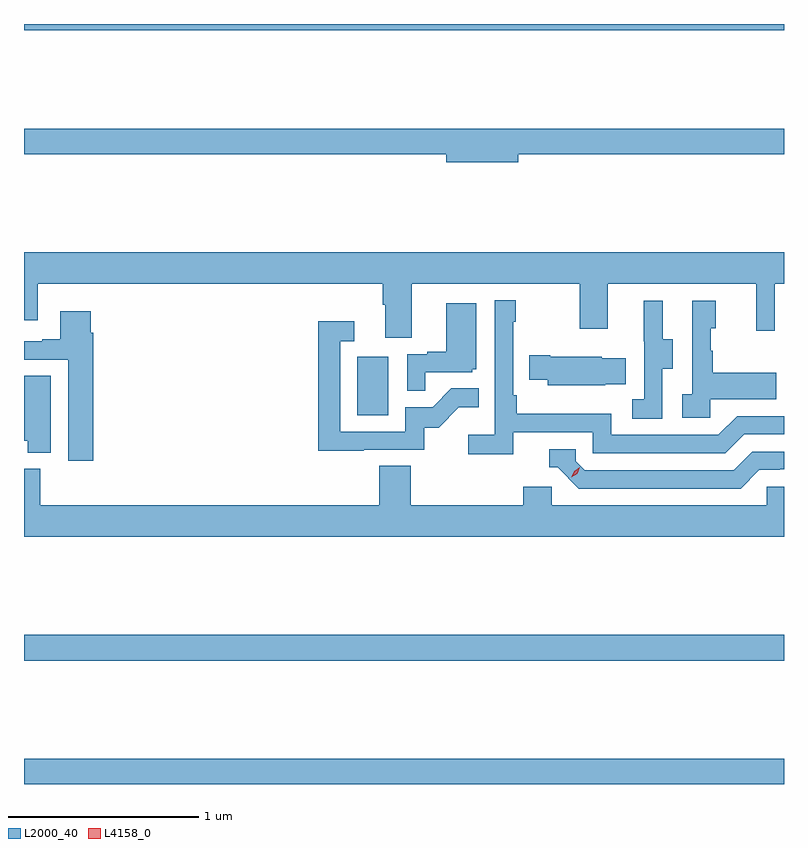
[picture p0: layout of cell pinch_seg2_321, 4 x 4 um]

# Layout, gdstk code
import gdstk
lib = gdstk.Library(unit=1e-6, precision=1e-09)
def R(c, l, rs):  # rectangles x0, y0, x1, y1
    for r in rs: c.add(gdstk.rectangle(r[:2], r[2:], *l))
def P(c, l, *ps):  # polygons
    for p in ps: c.add(gdstk.Polygon(p, *l))
L2000_40 = (2000, 40)
L4158_0 = (4158, 0)

pinch_seg2_321 = lib.new_cell('pinch_seg2_321')
R(pinch_seg2_321, L2000_40, [(898.83,625.022,902.83,625.156), (898.83,625.672,902.83,625.808), (900.584,626.964,900.748,627.271), (898.83,628.988,902.83,629.022)])
P(pinch_seg2_321, L2000_40, [(901.432,628.336),(902.83,628.336),(902.83,628.472),(898.83,628.472),(898.83,628.336),(901.052,628.336),(901.052,628.294),(901.432,628.294)],
  [(900.871,627.656),(901.756,627.656),(901.756,627.417),(901.903,627.417),(901.903,627.656),(902.684,627.656),(902.684,627.408),(902.781,627.408),(902.781,627.656),(902.83,627.656),(902.83,627.82),(898.83,627.82),(898.83,627.462),(898.903,627.462),(898.903,627.656),(900.719,627.656),(900.719,627.544),(900.731,627.544),(900.731,627.37),(900.871,627.37)],
  [(901.406,626.874),(901.824,626.874),(901.824,626.763),(902.521,626.763),(902.62,626.862),(902.83,626.862),(902.83,626.958),(902.583,626.958),(902.484,626.859),(901.92,626.859),(901.92,626.971),(901.424,626.971),(901.424,627.067),(901.404,627.067),(901.404,627.455),(901.417,627.455),(901.417,627.568),(901.308,627.568),(901.308,626.86),(901.167,626.86),(901.167,626.758),(901.406,626.758)],
  [(902.442,627.047),(902.789,627.047),(902.789,627.187),(902.455,627.187),(902.455,627.302),(902.445,627.302),(902.445,627.42),(902.47,627.42),(902.47,627.565),(902.346,627.565),(902.346,627.074),(902.295,627.074),(902.295,626.949),(902.442,626.949)],
  [(902.19,627.208),(902.245,627.208),(902.245,627.363),(902.191,627.363),(902.191,627.565),(902.093,627.565),(902.093,627.351),(902.094,627.351),(902.094,627.047),(902.031,627.047),(902.031,626.944),(902.19,626.944)],
  [(900.941,627.189),(901.188,627.189),(901.188,627.204),(901.21,627.204),(901.21,627.553),(901.052,627.553),(901.052,627.298),(900.953,627.298),(900.953,627.285),(900.846,627.285),(900.846,627.091),(900.941,627.091)],
  [(899.195,627.398),(899.182,627.398),(899.182,627.511),(899.021,627.511),(899.021,627.364),(898.925,627.364),(898.925,627.351),(898.83,627.351),(898.83,627.255),(899.063,627.255),(899.063,626.724),(899.195,626.724)],
  [(900.617,626.781),(900.936,626.781),(900.936,626.898),(901.012,626.898),(901.119,627.005),(901.223,627.005),(901.223,627.104),(901.079,627.104),(900.981,627.006),(900.837,627.006),(900.837,626.877),(900.495,626.877),(900.495,627.351),(900.568,627.351),(900.568,627.457),(900.379,627.457),(900.379,626.776),(900.617,626.776)],
  [(901.889,627.125),(901.997,627.125),(901.997,627.262),(901.872,627.262),(901.872,627.271),(901.6,627.271),(901.6,627.279),(901.489,627.279),(901.489,627.149),(901.587,627.149),(901.587,627.122),(901.889,627.122)],
  [(898.972,627.17),(898.83,627.17),(898.83,626.829),(898.85,626.829),(898.85,626.765),(898.972,626.765)],
  [(902.701,626.676),(902.808,626.676),(902.808,626.679),(902.83,626.679),(902.83,626.772),(902.664,626.772),(902.565,626.673),(901.782,626.673),(901.734,626.721),(901.734,626.784),(901.595,626.784),(901.595,626.688),(901.638,626.688),(901.749,626.577),(902.602,626.577)],
  [(902.83,626.586),(902.739,626.586),(902.739,626.488),(901.608,626.488),(901.608,626.586),(901.457,626.586),(901.457,626.488),(900.866,626.488),(900.866,626.696),(900.701,626.696),(900.701,626.488),(898.916,626.488),(898.916,626.68),(898.83,626.68),(898.83,626.324),(902.83,626.324)])
P(pinch_seg2_321, L4158_0, [(901.71,626.636),(901.71,626.636),(901.726,626.669),(901.756,626.688),(901.756,626.688),(901.756,626.688),(901.741,626.656),(901.71,626.636)])

lib.write_gds('pinch_seg2_321.gds')
